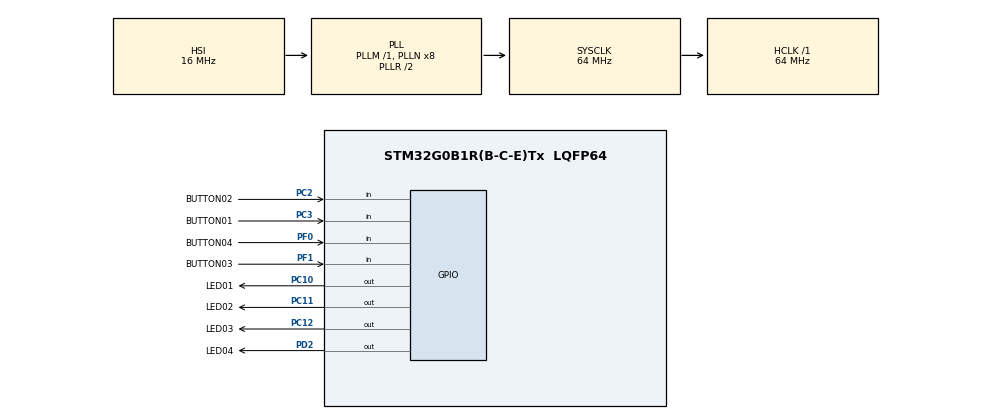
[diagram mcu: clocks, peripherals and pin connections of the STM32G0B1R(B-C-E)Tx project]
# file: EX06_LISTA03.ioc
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Mcu.Family=STM32G0
Mcu.Name=STM32G0B1R(B-C-E)Tx
Mcu.Package=LQFP64
NVIC.FLASH_IRQn=true\:0\:0\:false\:false\:true\:true\:true
NVIC.PVD_VDDIO2_IRQn=true\:0\:0\:false\:false\:true\:true\:true
NVIC.RCC_CRS_IRQn=true\:0\:0\:false\:false\:true\:true\:false
PA13.Mode=Serial_Wire
PA13.Signal=SYS_SWDIO
PA14-BOOT0.Mode=Serial_Wire
PA14-BOOT0.Signal=SYS_SWCLK
PC10.GPIO_Label=LED01
PC10.PinState=GPIO_PIN_SET
PC10.Signal=GPIO_Output
PC11.GPIO_Label=LED02
PC11.PinState=GPIO_PIN_SET
PC11.Signal=GPIO_Output
PC12.GPIO_Label=LED03
PC12.PinState=GPIO_PIN_SET
PC12.Signal=GPIO_Output
PC2.GPIO_Label=BUTTON02
PC2.GPIO_Mode=GPIO_MODE_INPUT
PC2.GPIO_PuPd=GPIO_PULLUP
PC2.Signal=GPIO_Input
PC3.GPIO_Label=BUTTON01
PC3.GPIO_PuPd=GPIO_PULLUP
PC3.Signal=GPIO_Input
PD2.GPIO_Label=LED04
PD2.PinState=GPIO_PIN_SET
PD2.Signal=GPIO_Output
PF0-OSC_IN\ (PF0).GPIO_Label=BUTTON04
PF0-OSC_IN\ (PF0).GPIO_Mode=GPIO_MODE_INPUT
PF0-OSC_IN\ (PF0).GPIO_PuPd=GPIO_PULLUP
PF0-OSC_IN\ (PF0).Signal=GPIO_Input
PF1-OSC_OUT\ (PF1).GPIO_Label=BUTTON03
PF1-OSC_OUT\ (PF1).GPIO_Mode=GPIO_MODE_INPUT
PF1-OSC_OUT\ (PF1).GPIO_PuPd=GPIO_PULLUP
PF1-OSC_OUT\ (PF1).Signal=GPIO_Input
ProjectManager.HeapSize=0x200
ProjectManager.StackSize=0x400
ProjectManager.TargetToolchain=STM32CubeIDE
RCC.ADCFreq_Value=64000000
RCC.AHBFreq_Value=64000000
RCC.CortexFreq_Value=64000000
RCC.EXTERNAL_CLOCK_VALUE=48000
RCC.HCLKFreq_Value=64000000
RCC.HSE_VALUE=8000000
RCC.HSI48_VALUE=48000000
RCC.HSI_VALUE=16000000
RCC.LSE_VALUE=32768
RCC.SYSCLKFreq_VALUE=64000000
RCC.SYSCLKSource=RCC_SYSCLKSOURCE_PLLCLK
RCC.USBFreq_Value=48000000
RCC.VCOOutputFreq_Value=128000000
VP_SYS_VS_DBSignals.Mode=DisableDeadBatterySignals
board=custom

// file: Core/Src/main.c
/* USER CODE BEGIN Header */
/**
  ******************************************************************************
  * @file           : main.c
  * @brief          : Main program body
  ******************************************************************************
  * @attention
  *
  * Copyright (c) 2022 STMicroelectronics.
  * All rights reserved.
  *
  * This software is licensed under terms that can be found in the LICENSE file
  * in the root directory of this software component.
  * If no LICENSE file comes with this software, it is provided AS-IS.
  *
  ******************************************************************************
  */
/* USER CODE END Header */
#include "main.h"

/* USER CODE BEGIN Includes */
#include <stdint.h>
/* USER CODE END Includes */

/* USER CODE BEGIN PTD */

typedef struct{
	uint16_t frequencia[3];
	uint16_t contador;
}button01;

typedef struct{
	uint16_t frequencia[3];
	uint16_t contador;
}button02;

typedef struct{

	uint16_t frequencia[3];
	uint16_t contador;
}button03;

typedef struct{
	uint16_t frequencia[3];
	uint16_t contador;
}button04;

button01 white = {
		.contador = 0,
		.frequencia[0] = 50,
		.frequencia[1] = 100,
		.frequencia[2] = 500
};

button02 blue = {
		.contador = 0,
		.frequencia[0] = 50,
		.frequencia[1] = 100,
		.frequencia[2] = 500
};

button03 yellow = {
		.contador = 0,
		.frequencia[0] = 50,
		.frequencia[1] = 100,
		.frequencia[2] = 500
};

button04 red = {
		.contador = 0,
		.frequencia[0] = 50,
		.frequencia[1] = 100,
		.frequencia[2] = 500
};
/* USER CODE END PTD */

void SystemClock_Config(void);
static void MX_GPIO_Init(void);

/* USER CODE BEGIN 0 */

//void HAL_GPIO_EXTI_Falling_Callback(uint16_t GPIO_Pin){
//	HAL_GPIO_WritePin(LED1_GPIO_Port, LED1_Pin, 1);
//	Contadores.cntF++;
/* USER CODE END 0 */

int main(void)
{

  /* MCU Configuration--------------------------------------------------------*/

  /* Reset of all peripherals, Initializes the Flash interface and the Systick. */
  HAL_Init();

  /* Configure the system clock */
  SystemClock_Config();

  /* Initialize all configured peripherals */
  MX_GPIO_Init();

  /* Infinite loop */
  /* USER CODE BEGIN WHILE */
  while (1)
  {
	  //white
	 if(HAL_GPIO_ReadPin(BUTTON01_GPIO_Port, BUTTON01_Pin)==0)
	 {
		 HAL_Delay(200);
		 white.contador++;
		 if(white.contador>3)
			 white.contador=1;
	 }
	 if(white.contador==1)
	 {
		 HAL_GPIO_TogglePin(LED01_GPIO_Port, LED01_Pin);
		 HAL_Delay(white.frequencia[0]);
	 }
	 if(white.contador==2)
	 {
		 HAL_GPIO_TogglePin(LED01_GPIO_Port, LED01_Pin);
		 HAL_Delay(white.frequencia[1]);
	 }
	 if(white.contador==3)
	 {
		 HAL_GPIO_TogglePin(LED01_GPIO_Port, LED01_Pin);
		 HAL_Delay(white.frequencia[2]);
	 }

	 //blue
	 if(HAL_GPIO_ReadPin(BUTTON02_GPIO_Port, BUTTON02_Pin)==0)
	 	 {
	 		 HAL_Delay(200);
	 		 blue.contador++;
	 		 if(blue.contador>3)
	 			 blue.contador=1;
	 	 }
	 	 if(blue.contador==1)
	 	 {
	 		 HAL_GPIO_TogglePin(LED02_GPIO_Port, LED02_Pin);
	 		 HAL_Delay(blue.frequencia[0]);
	 	 }
	 	 if(blue.contador==2)
	 	 {
	 		 HAL_GPIO_TogglePin(LED02_GPIO_Port, LED02_Pin);
	 		 HAL_Delay(blue.frequencia[1]);
	 	 }
	 	 if(blue.contador==3)
	 	 {
	 		 HAL_GPIO_TogglePin(LED02_GPIO_Port, LED02_Pin);
	 		 HAL_Delay(blue.frequencia[2]);
	 	 }

	 	//yellow
	 	if(HAL_GPIO_ReadPin(BUTTON03_GPIO_Port, BUTTON03_Pin)==0)
	 		 {
	 			 HAL_Delay(200);
	 			 yellow.contador++;
	 			 if(yellow.contador>3)
	 				 yellow.contador=1;
	 		 }
	 		 if(yellow.contador==1)
	 		 {
	 			 HAL_GPIO_TogglePin(LED03_GPIO_Port, LED03_Pin);
	 			 HAL_Delay(yellow.frequencia[0]);
	 		 }
	 		 if(yellow.contador==2)
	 		 {
	 			 HAL_GPIO_TogglePin(LED03_GPIO_Port, LED03_Pin);
	 			 HAL_Delay(yellow.frequencia[1]);
	 		 }
	 		 if(yellow.contador==3)
	 		 {
	 			 HAL_GPIO_TogglePin(LED03_GPIO_Port, LED03_Pin);
	 			 HAL_Delay(yellow.frequencia[2]);
	 		 }

	 	//red
	 		if(HAL_GPIO_ReadPin(BUTTON04_GPIO_Port, BUTTON04_Pin)==0)
	 			 {
	 				 HAL_Delay(200);
	 				 red.contador++;
	 				 if(red.contador>3)
	 					 red.contador=1;
	 			 }
	 			 if(red.contador==1)
	 			 {
	 				 HAL_GPIO_TogglePin(LED04_GPIO_Port, LED04_Pin);
	 				 HAL_Delay(red.frequencia[0]);
	 			 }
	 			 if(red.contador==2)
	 			 {
	 				 HAL_GPIO_TogglePin(LED04_GPIO_Port, LED04_Pin);
	 				 HAL_Delay(red.frequencia[1]);
	 			 }
	 			 if(red.contador==3)
	 			 {
	 				 HAL_GPIO_TogglePin(LED04_GPIO_Port, LED04_Pin);
	 				 HAL_Delay(red.frequencia[2]);
	 			 }

    /* USER CODE END WHILE */

  }
}

void SystemClock_Config(void)
{
  RCC_OscInitTypeDef RCC_OscInitStruct = {0};
  RCC_ClkInitTypeDef RCC_ClkInitStruct = {0};

  /** Configure the main internal regulator output voltage
  */
  HAL_PWREx_ControlVoltageScaling(PWR_REGULATOR_VOLTAGE_SCALE1);
  /** Initializes the RCC Oscillators according to the specified parameters
  * in the RCC_OscInitTypeDef structure.
  */
  RCC_OscInitStruct.OscillatorType = RCC_OSCILLATORTYPE_HSI;
  RCC_OscInitStruct.HSIState = RCC_HSI_ON;
  RCC_OscInitStruct.HSIDiv = RCC_HSI_DIV1;
  RCC_OscInitStruct.HSICalibrationValue = RCC_HSICALIBRATION_DEFAULT;
  RCC_OscInitStruct.PLL.PLLState = RCC_PLL_ON;
  RCC_OscInitStruct.PLL.PLLSource = RCC_PLLSOURCE_HSI;
  RCC_OscInitStruct.PLL.PLLM = RCC_PLLM_DIV1;
  RCC_OscInitStruct.PLL.PLLN = 8;
  RCC_OscInitStruct.PLL.PLLP = RCC_PLLP_DIV2;
  RCC_OscInitStruct.PLL.PLLQ = RCC_PLLQ_DIV2;
  RCC_OscInitStruct.PLL.PLLR = RCC_PLLR_DIV2;
  if (HAL_RCC_OscConfig(&RCC_OscInitStruct) != HAL_OK)
  {
    Error_Handler();
  }
  /** Initializes the CPU, AHB and APB buses clocks
  */
  RCC_ClkInitStruct.ClockType = RCC_CLOCKTYPE_HCLK|RCC_CLOCKTYPE_SYSCLK
                              |RCC_CLOCKTYPE_PCLK1;
  RCC_ClkInitStruct.SYSCLKSource = RCC_SYSCLKSOURCE_PLLCLK;
  RCC_ClkInitStruct.AHBCLKDivider = RCC_SYSCLK_DIV1;
  RCC_ClkInitStruct.APB1CLKDivider = RCC_HCLK_DIV1;

  if (HAL_RCC_ClockConfig(&RCC_ClkInitStruct, FLASH_LATENCY_2) != HAL_OK)
  {
    Error_Handler();
  }
}

static void MX_GPIO_Init(void)
{
  GPIO_InitTypeDef GPIO_InitStruct = {0};

  /* GPIO Ports Clock Enable */
  __HAL_RCC_GPIOC_CLK_ENABLE();
  __HAL_RCC_GPIOF_CLK_ENABLE();
  __HAL_RCC_GPIOA_CLK_ENABLE();
  __HAL_RCC_GPIOD_CLK_ENABLE();

  /*Configure GPIO pin Output Level */
  HAL_GPIO_WritePin(GPIOC, LED02_Pin|LED03_Pin|LED01_Pin, GPIO_PIN_SET);

  /*Configure GPIO pin Output Level */
  HAL_GPIO_WritePin(LED04_GPIO_Port, LED04_Pin, GPIO_PIN_SET);

  /*Configure GPIO pins : LED02_Pin LED03_Pin LED01_Pin */
  GPIO_InitStruct.Pin = LED02_Pin|LED03_Pin|LED01_Pin;
  GPIO_InitStruct.Mode = GPIO_MODE_OUTPUT_PP;
  GPIO_InitStruct.Pull = GPIO_NOPULL;
  GPIO_InitStruct.Speed = GPIO_SPEED_FREQ_LOW;
  HAL_GPIO_Init(GPIOC, &GPIO_InitStruct);

  /*Configure GPIO pins : BUTTON04_Pin BUTTON03_Pin */
  GPIO_InitStruct.Pin = BUTTON04_Pin|BUTTON03_Pin;
  GPIO_InitStruct.Mode = GPIO_MODE_INPUT;
  GPIO_InitStruct.Pull = GPIO_PULLUP;
  HAL_GPIO_Init(GPIOF, &GPIO_InitStruct);

  /*Configure GPIO pins : BUTTON02_Pin BUTTON01_Pin */
  GPIO_InitStruct.Pin = BUTTON02_Pin|BUTTON01_Pin;
  GPIO_InitStruct.Mode = GPIO_MODE_INPUT;
  GPIO_InitStruct.Pull = GPIO_PULLUP;
  HAL_GPIO_Init(GPIOC, &GPIO_InitStruct);

  /*Configure GPIO pin : LED04_Pin */
  GPIO_InitStruct.Pin = LED04_Pin;
  GPIO_InitStruct.Mode = GPIO_MODE_OUTPUT_PP;
  GPIO_InitStruct.Pull = GPIO_NOPULL;
  GPIO_InitStruct.Speed = GPIO_SPEED_FREQ_LOW;
  HAL_GPIO_Init(LED04_GPIO_Port, &GPIO_InitStruct);

}

void Error_Handler(void)
{
  __disable_irq();
  while (1)
  {
  }
}
